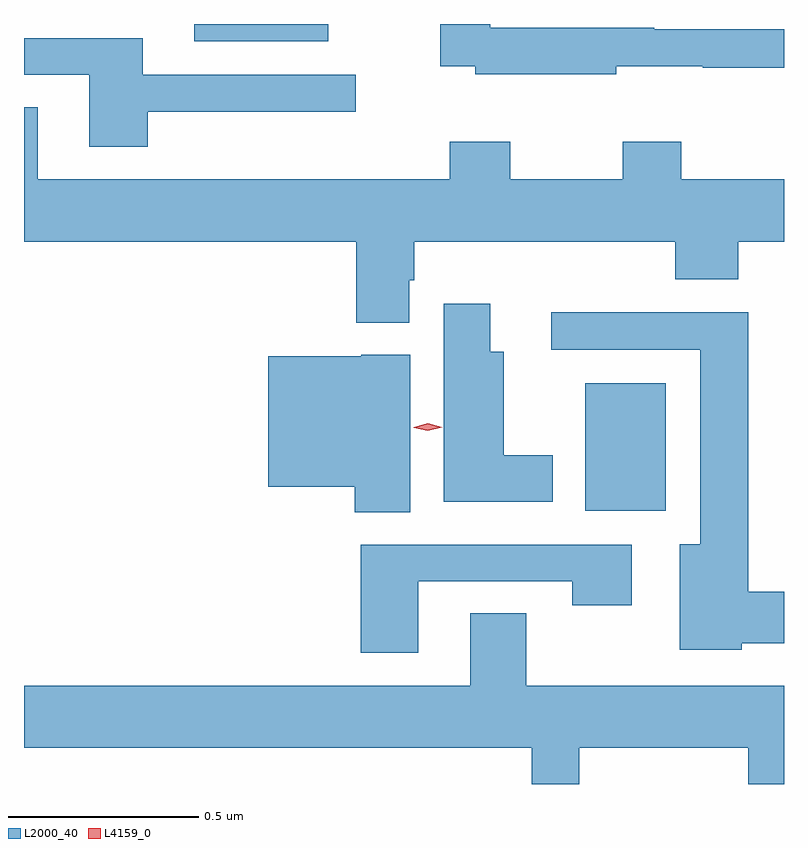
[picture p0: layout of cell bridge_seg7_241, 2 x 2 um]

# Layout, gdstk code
import gdstk
lib = gdstk.Library(unit=1e-6, precision=1e-09)
def R(c, l, rs):  # rectangles x0, y0, x1, y1
    for r in rs: c.add(gdstk.rectangle(r[:2], r[2:], *l))
def P(c, l, *ps):  # polygons
    for p in ps: c.add(gdstk.Polygon(p, *l))
L2000_40 = (2000, 40)
L4159_0 = (4159, 0)

bridge_seg7_241 = lib.new_cell('bridge_seg7_241')
R(bridge_seg7_241, L2000_40, [(269.852,1051.856,270.064,1052.191), (268.823,1053.092,269.176,1053.137)])
P(bridge_seg7_241, L2000_40, [(269.934,1053.026),(270.161,1053.026),(270.161,1053.022),(270.375,1053.022),(270.375,1053.123),(270.034,1053.123),(270.034,1053.127),(269.602,1053.127),(269.602,1053.137),(269.47,1053.137),(269.47,1053.026),(269.562,1053.026),(269.562,1053.005),(269.934,1053.005)],
  [(268.7,1052.906),(269.248,1052.906),(269.248,1053.003),(268.687,1053.003),(268.687,1053.099),(268.375,1053.099),(268.375,1053.003),(268.547,1053.003),(268.547,1052.814),(268.7,1052.814)],
  [(269.389,1052.463),(269.402,1052.463),(269.402,1052.564),(270.089,1052.564),(270.089,1052.465),(270.254,1052.465),(270.254,1052.564),(270.375,1052.564),(270.375,1052.728),(270.105,1052.728),(270.105,1052.827),(269.95,1052.827),(269.95,1052.728),(269.655,1052.728),(269.655,1052.827),(269.495,1052.827),(269.495,1052.728),(268.411,1052.728),(268.411,1052.918),(268.375,1052.918),(268.375,1052.564),(269.249,1052.564),(269.249,1052.351),(269.389,1052.351)],
  [(269.767,1052.002),(269.638,1052.002),(269.638,1052.275),(269.602,1052.275),(269.602,1052.401),(269.48,1052.401),(269.48,1051.88),(269.767,1051.88)],
  [(270.264,1051.508),(270.375,1051.508),(270.375,1051.643),(270.281,1051.643),(270.281,1052.378),(269.763,1052.378),(269.763,1052.28),(270.155,1052.28),(270.155,1051.768),(270.101,1051.768),(270.101,1051.49),(270.264,1051.49)],
  [(269.392,1052.266),(269.262,1052.266),(269.262,1052.263),(269.018,1052.263),(269.018,1051.919),(269.246,1051.919),(269.246,1051.852),(269.392,1051.852)],
  [(269.413,1051.671),(269.818,1051.671),(269.818,1051.608),(269.974,1051.608),(269.974,1051.767),(269.261,1051.767),(269.261,1051.482),(269.413,1051.482)],
  [(269.836,1051.232),(270.281,1051.232),(270.281,1051.137),(270.375,1051.137),(270.375,1051.396),(269.697,1051.396),(269.697,1051.586),(269.549,1051.586),(269.549,1051.396),(268.375,1051.396),(268.375,1051.232),(269.711,1051.232),(269.711,1051.137),(269.836,1051.137)])
P(bridge_seg7_241, L4159_0, [(269.437,1052.066),(269.4,1052.075),(269.4,1052.075),(269.4,1052.076),(269.437,1052.086),(269.475,1052.076),(269.475,1052.076),(269.475,1052.076)])

lib.write_gds('bridge_seg7_241.gds')
